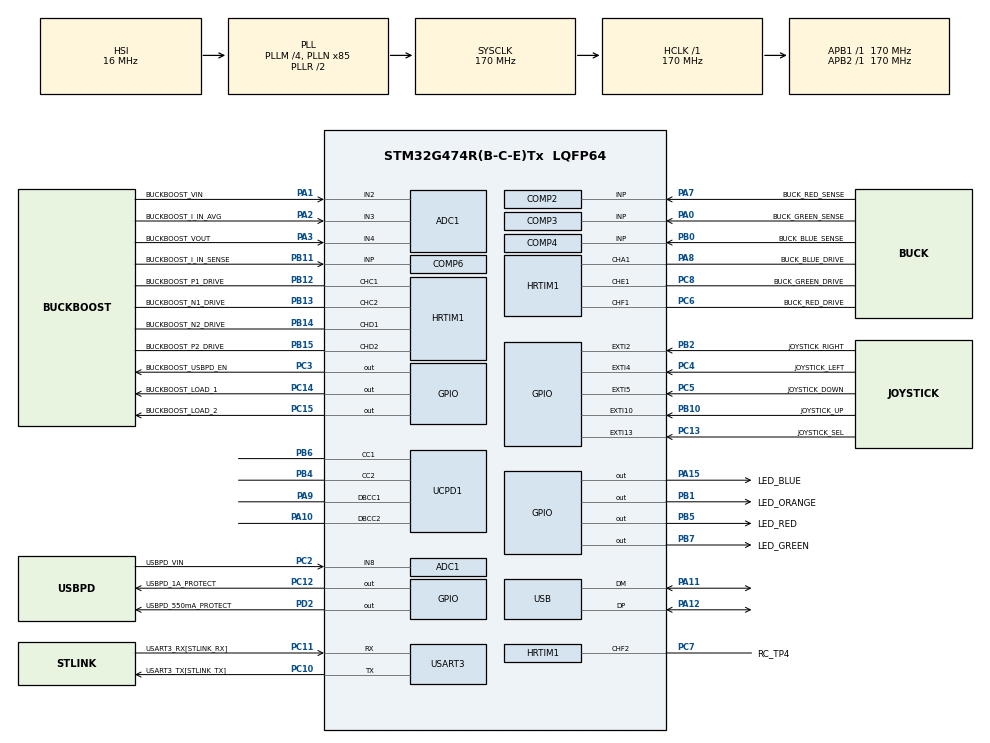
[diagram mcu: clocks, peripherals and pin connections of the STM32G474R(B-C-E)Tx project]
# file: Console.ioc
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ADC1.Channel-0\#ChannelRegularConversion=ADC_CHANNEL_8
ADC1.NbrOfConversionFlag=1
ADC1.OffsetNumber-0\#ChannelRegularConversion=ADC_OFFSET_NONE
ADC1.Rank-0\#ChannelRegularConversion=1
ADC1.SamplingTime-0\#ChannelRegularConversion=ADC_SAMPLETIME_2CYCLES_5
ADC1.master=1
DAC3.DAC_Channel-DAC_OUT2_Int=DAC_CHANNEL_2
FREERTOS.BinarySemaphores01=semUart,Static,semUartControlBlock,Depleted
FREERTOS.Mutexes01=mutexUart,Static,mutexUartControlBlock,Available
FREERTOS.Queues01=queueLogger,32,LogMessage,0,Static,queueLoggerBuffer,queueLoggerControlBlock;queueUart,64,uint8_t,0,Static,queueUartBuffer,queueUartControlBlock
FREERTOS.Tasks01=task0,24,128,startTask0,Default,NULL,Static,task0Buffer,task0ControlBlock;task1,24,128,startTask1,Default,NULL,Static,task1Buffer,task1ControlBlock;task2,24,128,startTask2,Default,NULL,Static,task2Buffer,task2ControlBlock;task3,16,128,startTask3,Default,NULL,Static,task3Buffer,task3ControlBlock;loggerTask,8,256,startLoggerTask,Default,NULL,Static,loggerTaskBuffer,loggerTaskControlBlock
Mcu.Family=STM32G4
Mcu.Name=STM32G474R(B-C-E)Tx
Mcu.Package=LQFP64
NVIC.ADC1_2_IRQn=true\:5\:0\:false\:false\:true\:true\:true\:true\:true
NVIC.EXTI15_10_IRQn=true\:5\:0\:false\:false\:true\:true\:true\:true\:true
NVIC.EXTI2_IRQn=true\:5\:0\:false\:false\:true\:true\:true\:true\:true
NVIC.EXTI4_IRQn=true\:5\:0\:false\:false\:true\:true\:true\:true\:true
NVIC.EXTI9_5_IRQn=true\:5\:0\:false\:false\:true\:true\:true\:true\:true
NVIC.HRTIM1_Master_IRQn=true\:5\:0\:false\:false\:true\:true\:true\:true\:true
NVIC.HRTIM1_TIMF_IRQn=true\:5\:0\:false\:false\:true\:true\:true\:true\:true
NVIC.PriorityGroup=NVIC_PRIORITYGROUP_4
NVIC.TIM6_DAC_IRQn=true\:15\:0\:false\:false\:true\:false\:false\:true\:true
NVIC.TimeBase=TIM6_DAC_IRQn
NVIC.TimeBaseIP=TIM6
NVIC.USART3_IRQn=true\:5\:0\:false\:false\:true\:true\:true\:true\:true
NVIC.USB_HP_IRQn=true\:5\:0\:false\:false\:true\:true\:true\:true\:true
PA0.GPIO_Label=BUCK_GREEN_SENSE
PA0.Mode=INP
PA0.Signal=COMP3_INP
PA1.GPIO_Label=BUCKBOOST_VIN
PA1.Mode=IN2-Single-Ended
PA1.Signal=ADC1_IN2
PA10.Mode=EnableDeadBattery
PA10.Signal=UCPD1_DBCC2
PA11.Mode=Device
PA11.Signal=USB_DM
PA12.Mode=Device
PA12.Signal=USB_DP
PA13.Mode=Serial_Wire
PA13.Signal=SYS_JTMS-SWDIO
PA14.Mode=Serial_Wire
PA14.Signal=SYS_JTCK-SWCLK
PA15.GPIO_Label=LED_BLUE
PA15.Signal=GPIO_Output
PA2.GPIO_Label=BUCKBOOST_I_IN_AVG
PA2.Mode=IN3-Single-Ended
PA2.Signal=ADC1_IN3
PA3.GPIO_Label=BUCKBOOST_VOUT
PA3.Mode=IN4-Single-Ended
PA3.Signal=ADC1_IN4
PA7.GPIO_Label=BUCK_RED_SENSE
PA7.Mode=INP
PA7.Signal=COMP2_INP
PA8.GPIO_Label=BUCK_BLUE_DRIVE
PA8.Mode=Output_TA1
PA8.Signal=HRTIM1_CHA1
PA9.Mode=EnableDeadBattery
PA9.Signal=UCPD1_DBCC1
PB0.GPIO_Label=BUCK_BLUE_SENSE
PB0.Mode=INP
PB0.Signal=COMP4_INP
PB1.GPIO_Label=LED_ORANGE
PB1.Signal=GPIO_Output
PB10.GPIO_Label=JOYSTICK_UP
PB10.GPIO_PuPd=GPIO_PULLUP
PB10.Signal=GPXTI10
PB11.GPIO_Label=BUCKBOOST_I_IN_SENSE
PB11.Mode=INP
PB11.Signal=COMP6_INP
PB12.GPIO_Label=BUCKBOOST_P1_DRIVE
PB12.Mode=Output_TC1TC2
PB12.Signal=HRTIM1_CHC1
PB13.GPIO_Label=BUCKBOOST_N1_DRIVE
PB13.Mode=Output_TC1TC2
PB13.Signal=HRTIM1_CHC2
PB14.GPIO_Label=BUCKBOOST_N2_DRIVE
PB14.Mode=Output_TD1TD2
PB14.Signal=HRTIM1_CHD1
PB15.GPIO_Label=BUCKBOOST_P2_DRIVE
PB15.Mode=Output_TD1TD2
PB15.Signal=HRTIM1_CHD2
PB2.GPIO_Label=JOYSTICK_RIGHT
PB2.GPIO_PuPd=GPIO_PULLUP
PB2.Signal=GPXTI2
PB3.Signal=SYS_JTDO-SWO
PB4.Mode=Sink_AllSignals
PB4.Signal=UCPD1_CC2
PB5.GPIO_Label=LED_RED
PB5.Signal=GPIO_Output
PB6.Mode=Sink_AllSignals
PB6.Signal=UCPD1_CC1
PB7.GPIO_Label=LED_GREEN
PB7.Signal=GPIO_Output
PC10.GPIO_Label=USART3_TX[STLINK_TX]
PC10.GPIO_Speed=GPIO_SPEED_FREQ_MEDIUM
PC10.Mode=Asynchronous
PC10.Signal=USART3_TX
PC11.GPIO_Label=USART3_RX[STLINK_RX]
PC11.GPIO_Speed=GPIO_SPEED_FREQ_MEDIUM
PC11.Mode=Asynchronous
PC11.Signal=USART3_RX
PC12.GPIO_Label=USBPD_1A_PROTECT
PC12.Signal=GPIO_Output
PC13.GPIO_Label=JOYSTICK_SEL
PC13.GPIO_PuPd=GPIO_PULLUP
PC13.Signal=GPXTI13
PC14-OSC32_IN.GPIO_Label=BUCKBOOST_LOAD_1
PC14-OSC32_IN.Signal=GPIO_Output
PC15-OSC32_OUT.GPIO_Label=BUCKBOOST_LOAD_2
PC15-OSC32_OUT.Signal=GPIO_Output
PC2.GPIO_Label=USBPD_VIN
PC2.Mode=IN8-Single-Ended
PC2.Signal=ADC1_IN8
PC3.GPIO_Label=BUCKBOOST_USBPD_EN
PC3.Signal=GPIO_Output
PC4.GPIO_Label=JOYSTICK_LEFT
PC4.GPIO_PuPd=GPIO_PULLUP
PC4.Signal=GPXTI4
PC5.GPIO_Label=JOYSTICK_DOWN
PC5.GPIO_PuPd=GPIO_PULLUP
PC5.Signal=GPXTI5
PC6.GPIO_Label=BUCK_RED_DRIVE
PC6.Mode=Output_TF1TF2
PC6.Signal=HRTIM1_CHF1
PC7.GPIO_Label=RC_TP4
PC7.Mode=Output_TF1TF2
PC7.Signal=HRTIM1_CHF2
PC8.GPIO_Label=BUCK_GREEN_DRIVE
PC8.Mode=Output_TE1
PC8.Signal=HRTIM1_CHE1
PD2.GPIO_Label=USBPD_550mA_PROTECT
PD2.Signal=GPIO_Output
ProjectManager.HeapSize=0x200
ProjectManager.StackSize=0x400
ProjectManager.TargetToolchain=CMake
RCC.ADC12Freq_Value=170000000
RCC.ADC345Freq_Value=170000000
RCC.AHBFreq_Value=170000000
RCC.APB1Freq_Value=170000000
RCC.APB1TimFreq_Value=170000000
RCC.APB2Freq_Value=170000000
RCC.APB2TimFreq_Value=170000000
RCC.CK48CLockSelection=RCC_USBCLKSOURCE_HSI48
RCC.CortexFreq_Value=170000000
RCC.EXTERNAL_CLOCK_VALUE=12288000
RCC.HCLKFreq_Value=170000000
RCC.HSE_VALUE=8000000
RCC.HSI48_VALUE=48000000
RCC.HSI_VALUE=16000000
RCC.LSE_VALUE=32768
RCC.PLLM=RCC_PLLM_DIV4
RCC.PLLN=85
RCC.PLLP=RCC_PLLP_DIV8
RCC.PLLQ=RCC_PLLQ_DIV8
RCC.SYSCLKFreq_VALUE=170000000
RCC.SYSCLKSource=RCC_SYSCLKSOURCE_PLLCLK
RCC.USBFreq_Value=48000000
RCC.VCOOutputFreq_Value=340000000
USART3.ClockPrescaler=PRESCALER_DIV4
USART3.VirtualMode-Asynchronous=VM_ASYNC
USART3.WordLength=WORDLENGTH_8B
VP_COMP2_VS_DAC3OUT2.Mode=INM_DAC3OUT2
VP_COMP3_VS_DAC3OUT1.Mode=INM_DAC3OUT1
VP_COMP4_VS_DAC1OUT1.Mode=INM_DAC1OUT1
VP_COMP6_VS_DAC2OUT1.Mode=INM_DAC2OUT1
VP_DAC1_VS_DACI1.Mode=DAC_OUT1_Int
VP_DAC2_VS_DACI1.Mode=DAC_OUT1_Int
VP_DAC3_VS_DACI1.Mode=DAC_OUT1_Int
VP_DAC3_VS_DACI2.Mode=DAC_OUT2_Int
VP_FREERTOS_VS_CMSIS_V2.Mode=CMSIS_V2
VP_SYS_VS_DBSignals.Mode=DisableDeadBatterySignals
VP_SYS_VS_tim6.Mode=TIM6
board=B-G474E-DPOW1

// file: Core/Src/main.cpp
/* USER CODE BEGIN Header */
/**
 ******************************************************************************
 * @file           : main.c
 * @brief          : Main program body
 ******************************************************************************
 * @attention
 *
 * Copyright (c) 2025 STMicroelectronics.
 * All rights reserved.
 *
 * This software is licensed under terms that can be found in the LICENSE file
 * in the root directory of this software component.
 * If no LICENSE file comes with this software, it is provided AS-IS.
 *
 ******************************************************************************
 */
/* USER CODE END Header */
#include "main.h"
#include "cmsis_os.h"

/* USER CODE BEGIN Includes */

#include "logger.h"
#include "uart.h"
#include "console.h"

#include <stdio.h>

/* USER CODE END Includes */

typedef StaticTask_t osStaticThreadDef_t;
typedef StaticQueue_t osStaticMessageQDef_t;
typedef StaticSemaphore_t osStaticMutexDef_t;
typedef StaticSemaphore_t osStaticSemaphoreDef_t;

ADC_HandleTypeDef hadc1;

COMP_HandleTypeDef hcomp2;
COMP_HandleTypeDef hcomp3;
COMP_HandleTypeDef hcomp4;
COMP_HandleTypeDef hcomp6;

DAC_HandleTypeDef hdac1;
DAC_HandleTypeDef hdac2;
DAC_HandleTypeDef hdac3;

HRTIM_HandleTypeDef hhrtim1;

UART_HandleTypeDef huart3;

PCD_HandleTypeDef hpcd_USB_FS;

/* Definitions for task0 */
osThreadId_t task0Handle;
uint32_t task0Buffer[128];
osStaticThreadDef_t task0ControlBlock;
const osThreadAttr_t task0_attributes = {
	.name = "task0",
	.cb_mem = &task0ControlBlock,
	.cb_size = sizeof(task0ControlBlock),
	.stack_mem = &task0Buffer[0],
	.stack_size = sizeof(task0Buffer),
	.priority = (osPriority_t)osPriorityNormal,
};
/* Definitions for task1 */
osThreadId_t task1Handle;
uint32_t task1Buffer[128];
osStaticThreadDef_t task1ControlBlock;
const osThreadAttr_t task1_attributes = {
	.name = "task1",
	.cb_mem = &task1ControlBlock,
	.cb_size = sizeof(task1ControlBlock),
	.stack_mem = &task1Buffer[0],
	.stack_size = sizeof(task1Buffer),
	.priority = (osPriority_t)osPriorityNormal,
};
/* Definitions for task2 */
osThreadId_t task2Handle;
uint32_t task2Buffer[128];
osStaticThreadDef_t task2ControlBlock;
const osThreadAttr_t task2_attributes = {
	.name = "task2",
	.cb_mem = &task2ControlBlock,
	.cb_size = sizeof(task2ControlBlock),
	.stack_mem = &task2Buffer[0],
	.stack_size = sizeof(task2Buffer),
	.priority = (osPriority_t)osPriorityNormal,
};
/* Definitions for task3 */
osThreadId_t task3Handle;
uint32_t task3Buffer[128];
osStaticThreadDef_t task3ControlBlock;
const osThreadAttr_t task3_attributes = {
	.name = "task3",
	.cb_mem = &task3ControlBlock,
	.cb_size = sizeof(task3ControlBlock),
	.stack_mem = &task3Buffer[0],
	.stack_size = sizeof(task3Buffer),
	.priority = (osPriority_t)osPriorityBelowNormal,
};
/* Definitions for loggerTask */
osThreadId_t loggerTaskHandle;
uint32_t loggerTaskBuffer[256];
osStaticThreadDef_t loggerTaskControlBlock;
const osThreadAttr_t loggerTask_attributes = {
	.name = "loggerTask",
	.cb_mem = &loggerTaskControlBlock,
	.cb_size = sizeof(loggerTaskControlBlock),
	.stack_mem = &loggerTaskBuffer[0],
	.stack_size = sizeof(loggerTaskBuffer),
	.priority = (osPriority_t)osPriorityLow,
};
/* Definitions for consoleTask */
osThreadId_t consoleTaskHandle;
uint32_t consoleTaskBuffer[512];
osStaticThreadDef_t consoleTaskControlBlock;
const osThreadAttr_t consoleTask_attributes = {
	.name = "consoleTask",
	.cb_mem = &consoleTaskControlBlock,
	.cb_size = sizeof(consoleTaskControlBlock),
	.stack_mem = &consoleTaskBuffer[0],
	.stack_size = sizeof(consoleTaskBuffer),
	.priority = (osPriority_t)osPriorityLow,
};
/* Definitions for queueLogger */
osMessageQueueId_t queueLoggerHandle;
uint8_t queueLoggerBuffer[32 * sizeof(LogMessage)];
osStaticMessageQDef_t queueLoggerControlBlock;
const osMessageQueueAttr_t queueLogger_attributes = {
	.name = "queueLogger",
	.cb_mem = &queueLoggerControlBlock,
	.cb_size = sizeof(queueLoggerControlBlock),
	.mq_mem = &queueLoggerBuffer,
	.mq_size = sizeof(queueLoggerBuffer)};
/* Definitions for queueUart */
osMessageQueueId_t queueUartHandle;
uint8_t queueUartBuffer[64 * sizeof(uint8_t)];
osStaticMessageQDef_t queueUartControlBlock;
const osMessageQueueAttr_t queueUart_attributes = {
	.name = "queueUart",
	.cb_mem = &queueUartControlBlock,
	.cb_size = sizeof(queueUartControlBlock),
	.mq_mem = &queueUartBuffer,
	.mq_size = sizeof(queueUartBuffer)};
/* Definitions for mutexUart */
osMutexId_t mutexUartHandle;
osStaticMutexDef_t mutexUartControlBlock;
const osMutexAttr_t mutexUart_attributes = {
	.name = "mutexUart",
	.cb_mem = &mutexUartControlBlock,
	.cb_size = sizeof(mutexUartControlBlock),
};
/* Definitions for semUart */
osSemaphoreId_t semUartHandle;
osStaticSemaphoreDef_t semUartControlBlock;
const osSemaphoreAttr_t semUart_attributes = {
	.name = "semUart",
	.cb_mem = &semUartControlBlock,
	.cb_size = sizeof(semUartControlBlock),
};

void SystemClock_Config(void);
static void MX_GPIO_Init(void);
static void MX_ADC1_Init(void);
static void MX_COMP2_Init(void);
static void MX_COMP3_Init(void);
static void MX_COMP4_Init(void);
static void MX_COMP6_Init(void);
static void MX_DAC1_Init(void);
static void MX_DAC2_Init(void);
static void MX_DAC3_Init(void);
static void MX_HRTIM1_Init(void);
static void MX_UCPD1_Init(void);
static void MX_USART3_UART_Init(void);
static void MX_USB_PCD_Init(void);
void startTask0(void *argument);
void startTask1(void *argument);
void startTask2(void *argument);
void startTask3(void *argument);
void startLoggerTask(void *argument);
void startConsoleTask(void *argument);

/* USER CODE BEGIN 0 */

Uart uart(&huart3);
Console console(uart);

extern "C" int _write(int file, char *ptr, int len)
{
	(void)file;
	uart.transmit(ptr, len);
	return len;
}

/* USER CODE END 0 */

int main(void)
{

	/* MCU Configuration--------------------------------------------------------*/

	/* Reset of all peripherals, Initializes the Flash interface and the Systick. */
	HAL_Init();

	/* Configure the system clock */
	SystemClock_Config();

	/* Initialize all configured peripherals */
	MX_GPIO_Init();
	MX_ADC1_Init();
	MX_COMP2_Init();
	MX_COMP3_Init();
	MX_COMP4_Init();
	MX_COMP6_Init();
	MX_DAC1_Init();
	MX_DAC2_Init();
	MX_DAC3_Init();
	MX_HRTIM1_Init();
	MX_UCPD1_Init();
	MX_USART3_UART_Init();
	MX_USB_PCD_Init();
	/* USER CODE BEGIN 2 */

	LOG_init(&queueLoggerHandle);
	uart.setHandleMutexTx(&mutexUartHandle);
	uart.setHandleQueueRx(&queueUartHandle);
	uart.setHandleSemTx(&semUartHandle);
	uart.init();

	/* USER CODE END 2 */

	/* Init scheduler */
	osKernelInitialize();
	/* Create the mutex(es) */
	/* creation of mutexUart */
	mutexUartHandle = osMutexNew(&mutexUart_attributes);

	semUartHandle = osSemaphoreNew(1, 0, &semUart_attributes);

	/* Create the queue(s) */
	/* creation of queueLogger */
	queueLoggerHandle = osMessageQueueNew(32, sizeof(LogMessage), &queueLogger_attributes);

	queueUartHandle = osMessageQueueNew(64, sizeof(uint8_t), &queueUart_attributes);

	/* Create the thread(s) */
	/* creation of task0 */
	task0Handle = osThreadNew(startTask0, NULL, &task0_attributes);

	/* creation of task1 */
	task1Handle = osThreadNew(startTask1, NULL, &task1_attributes);

	/* creation of task2 */
	task2Handle = osThreadNew(startTask2, NULL, &task2_attributes);

	/* creation of task3 */
	task3Handle = osThreadNew(startTask3, NULL, &task3_attributes);

	/* creation of loggerTask */
	loggerTaskHandle = osThreadNew(startLoggerTask, NULL, &loggerTask_attributes);

	consoleTaskHandle = osThreadNew(startConsoleTask, NULL, &consoleTask_attributes);

	/* Start scheduler */
	osKernelStart();

	/* We should never get here as control is now taken by the scheduler */

	/* Infinite loop */
	while (1)
	{

	}
}

void SystemClock_Config(void)
{
	RCC_OscInitTypeDef RCC_OscInitStruct = {0};
	RCC_ClkInitTypeDef RCC_ClkInitStruct = {0};

	/** Configure the main internal regulator output voltage
	 */
	HAL_PWREx_ControlVoltageScaling(PWR_REGULATOR_VOLTAGE_SCALE1_BOOST);

	/** Initializes the RCC Oscillators according to the specified parameters
	 * in the RCC_OscInitTypeDef structure.
	 */
	RCC_OscInitStruct.OscillatorType = RCC_OSCILLATORTYPE_HSI | RCC_OSCILLATORTYPE_HSI48;
	RCC_OscInitStruct.HSIState = RCC_HSI_ON;
	RCC_OscInitStruct.HSICalibrationValue = RCC_HSICALIBRATION_DEFAULT;
	RCC_OscInitStruct.HSI48State = RCC_HSI48_ON;
	RCC_OscInitStruct.PLL.PLLState = RCC_PLL_ON;
	RCC_OscInitStruct.PLL.PLLSource = RCC_PLLSOURCE_HSI;
	RCC_OscInitStruct.PLL.PLLM = RCC_PLLM_DIV4;
	RCC_OscInitStruct.PLL.PLLN = 85;
	RCC_OscInitStruct.PLL.PLLP = RCC_PLLP_DIV8;
	RCC_OscInitStruct.PLL.PLLQ = RCC_PLLQ_DIV8;
	RCC_OscInitStruct.PLL.PLLR = RCC_PLLR_DIV2;
	if (HAL_RCC_OscConfig(&RCC_OscInitStruct) != HAL_OK)
	{
		Error_Handler();
	}

	/** Initializes the CPU, AHB and APB buses clocks
	 */
	RCC_ClkInitStruct.ClockType = RCC_CLOCKTYPE_HCLK | RCC_CLOCKTYPE_SYSCLK | RCC_CLOCKTYPE_PCLK1 | RCC_CLOCKTYPE_PCLK2;
	RCC_ClkInitStruct.SYSCLKSource = RCC_SYSCLKSOURCE_PLLCLK;
	RCC_ClkInitStruct.AHBCLKDivider = RCC_SYSCLK_DIV1;
	RCC_ClkInitStruct.APB1CLKDivider = RCC_HCLK_DIV1;
	RCC_ClkInitStruct.APB2CLKDivider = RCC_HCLK_DIV1;

	if (HAL_RCC_ClockConfig(&RCC_ClkInitStruct, FLASH_LATENCY_4) != HAL_OK)
	{
		Error_Handler();
	}
}

static void MX_ADC1_Init(void)
{

	ADC_MultiModeTypeDef multimode = {0};
	ADC_ChannelConfTypeDef sConfig = {0};

	/** Common config
	 */
	hadc1.Instance = ADC1;
	hadc1.Init.ClockPrescaler = ADC_CLOCK_SYNC_PCLK_DIV4;
	hadc1.Init.Resolution = ADC_RESOLUTION_12B;
	hadc1.Init.DataAlign = ADC_DATAALIGN_RIGHT;
	hadc1.Init.GainCompensation = 0;
	hadc1.Init.ScanConvMode = ADC_SCAN_DISABLE;
	hadc1.Init.EOCSelection = ADC_EOC_SINGLE_CONV;
	hadc1.Init.LowPowerAutoWait = DISABLE;
	hadc1.Init.ContinuousConvMode = DISABLE;
	hadc1.Init.NbrOfConversion = 1;
	hadc1.Init.DiscontinuousConvMode = DISABLE;
	hadc1.Init.ExternalTrigConv = ADC_SOFTWARE_START;
	hadc1.Init.ExternalTrigConvEdge = ADC_EXTERNALTRIGCONVEDGE_NONE;
	hadc1.Init.DMAContinuousRequests = DISABLE;
	hadc1.Init.Overrun = ADC_OVR_DATA_PRESERVED;
	hadc1.Init.OversamplingMode = DISABLE;
	if (HAL_ADC_Init(&hadc1) != HAL_OK)
	{
		Error_Handler();
	}

	/** Configure the ADC multi-mode
	 */
	multimode.Mode = ADC_MODE_INDEPENDENT;
	if (HAL_ADCEx_MultiModeConfigChannel(&hadc1, &multimode) != HAL_OK)
	{
		Error_Handler();
	}

	/** Configure Regular Channel
	 */
	sConfig.Channel = ADC_CHANNEL_8;
	sConfig.Rank = ADC_REGULAR_RANK_1;
	sConfig.SamplingTime = ADC_SAMPLETIME_2CYCLES_5;
	sConfig.SingleDiff = ADC_SINGLE_ENDED;
	sConfig.OffsetNumber = ADC_OFFSET_NONE;
	sConfig.Offset = 0;
	if (HAL_ADC_ConfigChannel(&hadc1, &sConfig) != HAL_OK)
	{
		Error_Handler();
	}
}

static void MX_COMP2_Init(void)
{

	hcomp2.Instance = COMP2;
	hcomp2.Init.InputPlus = COMP_INPUT_PLUS_IO1;
	hcomp2.Init.InputMinus = COMP_INPUT_MINUS_DAC3_CH2;
	hcomp2.Init.OutputPol = COMP_OUTPUTPOL_NONINVERTED;
	hcomp2.Init.Hysteresis = COMP_HYSTERESIS_NONE;
	hcomp2.Init.BlankingSrce = COMP_BLANKINGSRC_NONE;
	hcomp2.Init.TriggerMode = COMP_TRIGGERMODE_NONE;
	if (HAL_COMP_Init(&hcomp2) != HAL_OK)
	{
		Error_Handler();
	}
}

static void MX_COMP3_Init(void)
{

	hcomp3.Instance = COMP3;
	hcomp3.Init.InputPlus = COMP_INPUT_PLUS_IO1;
	hcomp3.Init.InputMinus = COMP_INPUT_MINUS_DAC3_CH1;
	hcomp3.Init.OutputPol = COMP_OUTPUTPOL_NONINVERTED;
	hcomp3.Init.Hysteresis = COMP_HYSTERESIS_NONE;
	hcomp3.Init.BlankingSrce = COMP_BLANKINGSRC_NONE;
	hcomp3.Init.TriggerMode = COMP_TRIGGERMODE_NONE;
	if (HAL_COMP_Init(&hcomp3) != HAL_OK)
	{
		Error_Handler();
	}
}

static void MX_COMP4_Init(void)
{

	hcomp4.Instance = COMP4;
	hcomp4.Init.InputPlus = COMP_INPUT_PLUS_IO1;
	hcomp4.Init.InputMinus = COMP_INPUT_MINUS_DAC1_CH1;
	hcomp4.Init.OutputPol = COMP_OUTPUTPOL_NONINVERTED;
	hcomp4.Init.Hysteresis = COMP_HYSTERESIS_NONE;
	hcomp4.Init.BlankingSrce = COMP_BLANKINGSRC_NONE;
	hcomp4.Init.TriggerMode = COMP_TRIGGERMODE_NONE;
	if (HAL_COMP_Init(&hcomp4) != HAL_OK)
	{
		Error_Handler();
	}
}

static void MX_COMP6_Init(void)
{

	hcomp6.Instance = COMP6;
	hcomp6.Init.InputPlus = COMP_INPUT_PLUS_IO1;
	hcomp6.Init.InputMinus = COMP_INPUT_MINUS_DAC2_CH1;
	hcomp6.Init.OutputPol = COMP_OUTPUTPOL_NONINVERTED;
	hcomp6.Init.Hysteresis = COMP_HYSTERESIS_NONE;
	hcomp6.Init.BlankingSrce = COMP_BLANKINGSRC_NONE;
	hcomp6.Init.TriggerMode = COMP_TRIGGERMODE_NONE;
	if (HAL_COMP_Init(&hcomp6) != HAL_OK)
	{
		Error_Handler();
	}
}

static void MX_DAC1_Init(void)
{

	DAC_ChannelConfTypeDef sConfig = {0};

	/** DAC Initialization
	 */
	hdac1.Instance = DAC1;
	if (HAL_DAC_Init(&hdac1) != HAL_OK)
	{
		Error_Handler();
	}

	/** DAC channel OUT1 config
	 */
	sConfig.DAC_HighFrequency = DAC_HIGH_FREQUENCY_INTERFACE_MODE_AUTOMATIC;
	sConfig.DAC_DMADoubleDataMode = DISABLE;
	sConfig.DAC_SignedFormat = DISABLE;
	sConfig.DAC_SampleAndHold = DAC_SAMPLEANDHOLD_DISABLE;
	sConfig.DAC_Trigger = DAC_TRIGGER_NONE;
	sConfig.DAC_Trigger2 = DAC_TRIGGER_NONE;
	sConfig.DAC_OutputBuffer = DAC_OUTPUTBUFFER_DISABLE;
	sConfig.DAC_ConnectOnChipPeripheral = DAC_CHIPCONNECT_INTERNAL;
	sConfig.DAC_UserTrimming = DAC_TRIMMING_FACTORY;
	if (HAL_DAC_ConfigChannel(&hdac1, &sConfig, DAC_CHANNEL_1) != HAL_OK)
	{
		Error_Handler();
	}
}

static void MX_DAC2_Init(void)
{

	DAC_ChannelConfTypeDef sConfig = {0};

	/** DAC Initialization
	 */
	hdac2.Instance = DAC2;
	if (HAL_DAC_Init(&hdac2) != HAL_OK)
	{
		Error_Handler();
	}

	/** DAC channel OUT1 config
	 */
	sConfig.DAC_HighFrequency = DAC_HIGH_FREQUENCY_INTERFACE_MODE_AUTOMATIC;
	sConfig.DAC_DMADoubleDataMode = DISABLE;
	sConfig.DAC_SignedFormat = DISABLE;
	sConfig.DAC_SampleAndHold = DAC_SAMPLEANDHOLD_DISABLE;
	sConfig.DAC_Trigger = DAC_TRIGGER_NONE;
	sConfig.DAC_Trigger2 = DAC_TRIGGER_NONE;
	sConfig.DAC_OutputBuffer = DAC_OUTPUTBUFFER_DISABLE;
	sConfig.DAC_ConnectOnChipPeripheral = DAC_CHIPCONNECT_INTERNAL;
	sConfig.DAC_UserTrimming = DAC_TRIMMING_FACTORY;
	if (HAL_DAC_ConfigChannel(&hdac2, &sConfig, DAC_CHANNEL_1) != HAL_OK)
	{
		Error_Handler();
	}
}

static void MX_DAC3_Init(void)
{

	DAC_ChannelConfTypeDef sConfig = {0};

	/** DAC Initialization
	 */
	hdac3.Instance = DAC3;
	if (HAL_DAC_Init(&hdac3) != HAL_OK)
	{
		Error_Handler();
	}

	/** DAC channel OUT1 config
	 */
	sConfig.DAC_HighFrequency = DAC_HIGH_FREQUENCY_INTERFACE_MODE_AUTOMATIC;
	sConfig.DAC_DMADoubleDataMode = DISABLE;
	sConfig.DAC_SignedFormat = DISABLE;
	sConfig.DAC_SampleAndHold = DAC_SAMPLEANDHOLD_DISABLE;
	sConfig.DAC_Trigger = DAC_TRIGGER_NONE;
	sConfig.DAC_Trigger2 = DAC_TRIGGER_NONE;
	sConfig.DAC_OutputBuffer = DAC_OUTPUTBUFFER_DISABLE;
	sConfig.DAC_ConnectOnChipPeripheral = DAC_CHIPCONNECT_INTERNAL;
	sConfig.DAC_UserTrimming = DAC_TRIMMING_FACTORY;
	if (HAL_DAC_ConfigChannel(&hdac3, &sConfig, DAC_CHANNEL_1) != HAL_OK)
	{
		Error_Handler();
	}

	/** DAC channel OUT2 config
	 */
	if (HAL_DAC_ConfigChannel(&hdac3, &sConfig, DAC_CHANNEL_2) != HAL_OK)
	{
		Error_Handler();
	}
}

static void MX_HRTIM1_Init(void)
{

	HRTIM_TimeBaseCfgTypeDef pTimeBaseCfg = {0};
	HRTIM_TimerCtlTypeDef pTimerCtl = {0};
	HRTIM_TimerCfgTypeDef pTimerCfg = {0};
	HRTIM_OutputCfgTypeDef pOutputCfg = {0};

	hhrtim1.Instance = HRTIM1;
	hhrtim1.Init.HRTIMInterruptResquests = HRTIM_IT_NONE;
	hhrtim1.Init.SyncOptions = HRTIM_SYNCOPTION_NONE;
	if (HAL_HRTIM_Init(&hhrtim1) != HAL_OK)
	{
		Error_Handler();
	}
	if (HAL_HRTIM_DLLCalibrationStart(&hhrtim1, HRTIM_CALIBRATIONRATE_3) != HAL_OK)
	{
		Error_Handler();
	}
	if (HAL_HRTIM_PollForDLLCalibration(&hhrtim1, 10) != HAL_OK)
	{
		Error_Handler();
	}
	pTimeBaseCfg.Period = 0xFFDF;
	pTimeBaseCfg.RepetitionCounter = 0x00;
	pTimeBaseCfg.PrescalerRatio = HRTIM_PRESCALERRATIO_MUL32;
	pTimeBaseCfg.Mode = HRTIM_MODE_CONTINUOUS;
	if (HAL_HRTIM_TimeBaseConfig(&hhrtim1, HRTIM_TIMERINDEX_TIMER_A, &pTimeBaseCfg) != HAL_OK)
	{
		Error_Handler();
	}
	pTimerCtl.UpDownMode = HRTIM_TIMERUPDOWNMODE_UP;
	pTimerCtl.DualChannelDacEnable = HRTIM_TIMER_DCDE_DISABLED;
	if (HAL_HRTIM_WaveformTimerControl(&hhrtim1, HRTIM_TIMERINDEX_TIMER_A, &pTimerCtl) != HAL_OK)
	{
		Error_Handler();
	}
	pTimerCfg.InterruptRequests = HRTIM_TIM_IT_NONE;
	pTimerCfg.DMARequests = HRTIM_TIM_DMA_NONE;
	pTimerCfg.DMASrcAddress = 0x0000;
	pTimerCfg.DMADstAddress = 0x0000;
	pTimerCfg.DMASize = 0x1;
	pTimerCfg.HalfModeEnable = HRTIM_HALFMODE_DISABLED;
	pTimerCfg.InterleavedMode = HRTIM_INTERLEAVED_MODE_DISABLED;
	pTimerCfg.StartOnSync = HRTIM_SYNCSTART_DISABLED;
	pTimerCfg.ResetOnSync = HRTIM_SYNCRESET_DISABLED;
	pTimerCfg.DACSynchro = HRTIM_DACSYNC_NONE;
	pTimerCfg.PreloadEnable = HRTIM_PRELOAD_DISABLED;
	pTimerCfg.UpdateGating = HRTIM_UPDATEGATING_INDEPENDENT;
	pTimerCfg.BurstMode = HRTIM_TIMERBURSTMODE_MAINTAINCLOCK;
	pTimerCfg.RepetitionUpdate = HRTIM_UPDATEONREPETITION_DISABLED;
	pTimerCfg.PushPull = HRTIM_TIMPUSHPULLMODE_DISABLED;
	pTimerCfg.FaultEnable = HRTIM_TIMFAULTENABLE_NONE;
	pTimerCfg.FaultLock = HRTIM_TIMFAULTLOCK_READWRITE;
	pTimerCfg.DeadTimeInsertion = HRTIM_TIMDEADTIMEINSERTION_DISABLED;
	pTimerCfg.DelayedProtectionMode = HRTIM_TIMER_A_B_C_DELAYEDPROTECTION_DISABLED;
	pTimerCfg.UpdateTrigger = HRTIM_TIMUPDATETRIGGER_NONE;
	pTimerCfg.ResetTrigger = HRTIM_TIMRESETTRIGGER_NONE;
	pTimerCfg.ResetUpdate = HRTIM_TIMUPDATEONRESET_DISABLED;
	pTimerCfg.ReSyncUpdate = HRTIM_TIMERESYNC_UPDATE_UNCONDITIONAL;
	if (HAL_HRTIM_WaveformTimerConfig(&hhrtim1, HRTIM_TIMERINDEX_TIMER_A, &pTimerCfg) != HAL_OK)
	{
		Error_Handler();
	}
	if (HAL_HRTIM_WaveformTimerConfig(&hhrtim1, HRTIM_TIMERINDEX_TIMER_C, &pTimerCfg) != HAL_OK)
	{
		Error_Handler();
	}
	pTimerCfg.DelayedProtectionMode = HRTIM_TIMER_D_E_DELAYEDPROTECTION_DISABLED;
	if (HAL_HRTIM_WaveformTimerConfig(&hhrtim1, HRTIM_TIMERINDEX_TIMER_D, &pTimerCfg) != HAL_OK)
	{
		Error_Handler();
	}
	if (HAL_HRTIM_WaveformTimerConfig(&hhrtim1, HRTIM_TIMERINDEX_TIMER_E, &pTimerCfg) != HAL_OK)
	{
		Error_Handler();
	}
	pTimerCfg.DelayedProtectionMode = HRTIM_TIMER_F_DELAYEDPROTECTION_DISABLED;
	if (HAL_HRTIM_WaveformTimerConfig(&hhrtim1, HRTIM_TIMERINDEX_TIMER_F, &pTimerCfg) != HAL_OK)
	{
		Error_Handler();
	}
	pOutputCfg.Polarity = HRTIM_OUTPUTPOLARITY_HIGH;
	pOutputCfg.SetSource = HRTIM_OUTPUTSET_NONE;
	pOutputCfg.ResetSource = HRTIM_OUTPUTRESET_NONE;
	pOutputCfg.IdleMode = HRTIM_OUTPUTIDLEMODE_NONE;
	pOutputCfg.IdleLevel = HRTIM_OUTPUTIDLELEVEL_INACTIVE;
	pOutputCfg.FaultLevel = HRTIM_OUTPUTFAULTLEVEL_NONE;
	pOutputCfg.ChopperModeEnable = HRTIM_OUTPUTCHOPPERMODE_DISABLED;
	pOutputCfg.BurstModeEntryDelayed = HRTIM_OUTPUTBURSTMODEENTRY_REGULAR;
	if (HAL_HRTIM_WaveformOutputConfig(&hhrtim1, HRTIM_TIMERINDEX_TIMER_A, HRTIM_OUTPUT_TA1, &pOutputCfg) != HAL_OK)
	{
		Error_Handler();
	}
	if (HAL_HRTIM_WaveformOutputConfig(&hhrtim1, HRTIM_TIMERINDEX_TIMER_C, HRTIM_OUTPUT_TC1, &pOutputCfg) != HAL_OK)
	{
		Error_Handler();
	}
	if (HAL_HRTIM_WaveformOutputConfig(&hhrtim1, HRTIM_TIMERINDEX_TIMER_D, HRTIM_OUTPUT_TD1, &pOutputCfg) != HAL_OK)
	{
		Error_Handler();
	}
	if (HAL_HRTIM_WaveformOutputConfig(&hhrtim1, HRTIM_TIMERINDEX_TIMER_E, HRTIM_OUTPUT_TE1, &pOutputCfg) != HAL_OK)
	{
		Error_Handler();
	}
	if (HAL_HRTIM_WaveformOutputConfig(&hhrtim1, HRTIM_TIMERINDEX_TIMER_F, HRTIM_OUTPUT_TF1, &pOutputCfg) != HAL_OK)
	{
		Error_Handler();
	}
	if (HAL_HRTIM_TimeBaseConfig(&hhrtim1, HRTIM_TIMERINDEX_TIMER_C, &pTimeBaseCfg) != HAL_OK)
	{
		Error_Handler();
	}
	if (HAL_HRTIM_WaveformTimerControl(&hhrtim1, HRTIM_TIMERINDEX_TIMER_C, &pTimerCtl) != HAL_OK)
	{
		Error_Handler();
	}
	if (HAL_HRTIM_WaveformOutputConfig(&hhrtim1, HRTIM_TIMERINDEX_TIMER_C, HRTIM_OUTPUT_TC2, &pOutputCfg) != HAL_OK)
	{
		Error_Handler();
	}
	if (HAL_HRTIM_WaveformOutputConfig(&hhrtim1, HRTIM_TIMERINDEX_TIMER_D, HRTIM_OUTPUT_TD2, &pOutputCfg) != HAL_OK)
	{
		Error_Handler();
	}
	if (HAL_HRTIM_WaveformOutputConfig(&hhrtim1, HRTIM_TIMERINDEX_TIMER_F, HRTIM_OUTPUT_TF2, &pOutputCfg) != HAL_OK)
	{
		Error_Handler();
	}
	if (HAL_HRTIM_TimeBaseConfig(&hhrtim1, HRTIM_TIMERINDEX_TIMER_D, &pTimeBaseCfg) != HAL_OK)
	{
		Error_Handler();
	}
	if (HAL_HRTIM_WaveformTimerControl(&hhrtim1, HRTIM_TIMERINDEX_TIMER_D, &pTimerCtl) != HAL_OK)
	{
		Error_Handler();
	}
	if (HAL_HRTIM_TimeBaseConfig(&hhrtim1, HRTIM_TIMERINDEX_TIMER_E, &pTimeBaseCfg) != HAL_OK)
	{
		Error_Handler();
	}
	if (HAL_HRTIM_WaveformTimerControl(&hhrtim1, HRTIM_TIMERINDEX_TIMER_E, &pTimerCtl) != HAL_OK)
	{
		Error_Handler();
	}
	if (HAL_HRTIM_TimeBaseConfig(&hhrtim1, HRTIM_TIMERINDEX_TIMER_F, &pTimeBaseCfg) != HAL_OK)
	{
		Error_Handler();
	}
	if (HAL_HRTIM_WaveformTimerControl(&hhrtim1, HRTIM_TIMERINDEX_TIMER_F, &pTimerCtl) != HAL_OK)
	{
		Error_Handler();
	}
	HAL_HRTIM_MspPostInit(&hhrtim1);
}

static void MX_UCPD1_Init(void)
{

	LL_GPIO_InitTypeDef GPIO_InitStruct = {0};

	/* Peripheral clock enable */
	LL_APB1_GRP2_EnableClock(LL_APB1_GRP2_PERIPH_UCPD1);

	LL_AHB2_GRP1_EnableClock(LL_AHB2_GRP1_PERIPH_GPIOB);
	/**UCPD1 GPIO Configuration
	PB4   ------> UCPD1_CC2
	PB6   ------> UCPD1_CC1
	*/
	GPIO_InitStruct.Pin = LL_GPIO_PIN_4;
	GPIO_InitStruct.Mode = LL_GPIO_MODE_ANALOG;
	GPIO_InitStruct.Pull = LL_GPIO_PULL_NO;
	LL_GPIO_Init(GPIOB, &GPIO_InitStruct);

	GPIO_InitStruct.Pin = LL_GPIO_PIN_6;
	GPIO_InitStruct.Mode = LL_GPIO_MODE_ANALOG;
	GPIO_InitStruct.Pull = LL_GPIO_PULL_NO;
	LL_GPIO_Init(GPIOB, &GPIO_InitStruct);

}

static void MX_USART3_UART_Init(void)
{

	huart3.Instance = USART3;
	huart3.Init.BaudRate = 115200;
	huart3.Init.WordLength = UART_WORDLENGTH_8B;
	huart3.Init.StopBits = UART_STOPBITS_1;
	huart3.Init.Parity = UART_PARITY_NONE;
	huart3.Init.Mode = UART_MODE_TX_RX;
	huart3.Init.HwFlowCtl = UART_HWCONTROL_NONE;
	huart3.Init.OverSampling = UART_OVERSAMPLING_16;
	huart3.Init.OneBitSampling = UART_ONE_BIT_SAMPLE_DISABLE;
	huart3.Init.ClockPrescaler = UART_PRESCALER_DIV4;
	huart3.AdvancedInit.AdvFeatureInit = UART_ADVFEATURE_NO_INIT;
	if (HAL_UART_Init(&huart3) != HAL_OK)
	{
		Error_Handler();
	}
	if (HAL_UARTEx_SetTxFifoThreshold(&huart3, UART_TXFIFO_THRESHOLD_1_8) != HAL_OK)
	{
		Error_Handler();
	}
	if (HAL_UARTEx_SetRxFifoThreshold(&huart3, UART_RXFIFO_THRESHOLD_1_8) != HAL_OK)
	{
		Error_Handler();
	}
	if (HAL_UARTEx_DisableFifoMode(&huart3) != HAL_OK)
	{
		Error_Handler();
	}
}

static void MX_USB_PCD_Init(void)
{

	hpcd_USB_FS.Instance = USB;
	hpcd_USB_FS.Init.dev_endpoints = 8;
	hpcd_USB_FS.Init.speed = PCD_SPEED_FULL;
	hpcd_USB_FS.Init.phy_itface = PCD_PHY_EMBEDDED;
	hpcd_USB_FS.Init.Sof_enable = DISABLE;
	hpcd_USB_FS.Init.low_power_enable = DISABLE;
	hpcd_USB_FS.Init.lpm_enable = DISABLE;
	hpcd_USB_FS.Init.battery_charging_enable = DISABLE;
	if (HAL_PCD_Init(&hpcd_USB_FS) != HAL_OK)
	{
		Error_Handler();
	}
}

static void MX_GPIO_Init(void)
{
	GPIO_InitTypeDef GPIO_InitStruct = {0};

	/* GPIO Ports Clock Enable */
	__HAL_RCC_GPIOC_CLK_ENABLE();
	__HAL_RCC_GPIOA_CLK_ENABLE();
	__HAL_RCC_GPIOB_CLK_ENABLE();
	__HAL_RCC_GPIOD_CLK_ENABLE();

	/*Configure GPIO pin Output Level */
	HAL_GPIO_WritePin(GPIOC, BUCKBOOST_LOAD_1_Pin | BUCKBOOST_LOAD_2_Pin | BUCKBOOST_USBPD_EN_Pin | USBPD_1A_PROTECT_Pin, GPIO_PIN_RESET);

	/*Configure GPIO pin Output Level */
	HAL_GPIO_WritePin(GPIOB, LED_ORANGE_Pin | LED_RED_Pin | LED_GREEN_Pin, GPIO_PIN_RESET);

	/*Configure GPIO pin Output Level */
	HAL_GPIO_WritePin(LED_BLUE_GPIO_Port, LED_BLUE_Pin, GPIO_PIN_RESET);

	/*Configure GPIO pin Output Level */
	HAL_GPIO_WritePin(USBPD_550mA_PROTECT_GPIO_Port, USBPD_550mA_PROTECT_Pin, GPIO_PIN_RESET);

	/*Configure GPIO pins : JOYSTICK_SEL_Pin JOYSTICK_LEFT_Pin JOYSTICK_DOWN_Pin */
	GPIO_InitStruct.Pin = JOYSTICK_SEL_Pin | JOYSTICK_LEFT_Pin | JOYSTICK_DOWN_Pin;
	GPIO_InitStruct.Mode = GPIO_MODE_IT_RISING;
	GPIO_InitStruct.Pull = GPIO_PULLUP;
	HAL_GPIO_Init(GPIOC, &GPIO_InitStruct);

	/*Configure GPIO pins : BUCKBOOST_LOAD_1_Pin BUCKBOOST_LOAD_2_Pin BUCKBOOST_USBPD_EN_Pin USBPD_1A_PROTECT_Pin */
	GPIO_InitStruct.Pin = BUCKBOOST_LOAD_1_Pin | BUCKBOOST_LOAD_2_Pin | BUCKBOOST_USBPD_EN_Pin | USBPD_1A_PROTECT_Pin;
	GPIO_InitStruct.Mode = GPIO_MODE_OUTPUT_PP;
	GPIO_InitStruct.Pull = GPIO_NOPULL;
	GPIO_InitStruct.Speed = GPIO_SPEED_FREQ_LOW;
	HAL_GPIO_Init(GPIOC, &GPIO_InitStruct);

	/*Configure GPIO pins : LED_ORANGE_Pin LED_RED_Pin LED_GREEN_Pin */
	GPIO_InitStruct.Pin = LED_ORANGE_Pin | LED_RED_Pin | LED_GREEN_Pin;
	GPIO_InitStruct.Mode = GPIO_MODE_OUTPUT_PP;
	GPIO_InitStruct.Pull = GPIO_NOPULL;
	GPIO_InitStruct.Speed = GPIO_SPEED_FREQ_LOW;
	HAL_GPIO_Init(GPIOB, &GPIO_InitStruct);

	/*Configure GPIO pins : JOYSTICK_RIGHT_Pin JOYSTICK_UP_Pin */
	GPIO_InitStruct.Pin = JOYSTICK_RIGHT_Pin | JOYSTICK_UP_Pin;
	GPIO_InitStruct.Mode = GPIO_MODE_IT_RISING;
	GPIO_InitStruct.Pull = GPIO_PULLUP;
	HAL_GPIO_Init(GPIOB, &GPIO_InitStruct);

	/*Configure GPIO pin : LED_BLUE_Pin */
	GPIO_InitStruct.Pin = LED_BLUE_Pin;
	GPIO_InitStruct.Mode = GPIO_MODE_OUTPUT_PP;
	GPIO_InitStruct.Pull = GPIO_NOPULL;
	GPIO_InitStruct.Speed = GPIO_SPEED_FREQ_LOW;
	HAL_GPIO_Init(LED_BLUE_GPIO_Port, &GPIO_InitStruct);

	/*Configure GPIO pin : USBPD_550mA_PROTECT_Pin */
	GPIO_InitStruct.Pin = USBPD_550mA_PROTECT_Pin;
	GPIO_InitStruct.Mode = GPIO_MODE_OUTPUT_PP;
	GPIO_InitStruct.Pull = GPIO_NOPULL;
	GPIO_InitStruct.Speed = GPIO_SPEED_FREQ_LOW;
	HAL_GPIO_Init(USBPD_550mA_PROTECT_GPIO_Port, &GPIO_InitStruct);

	/* EXTI interrupt init*/
	HAL_NVIC_SetPriority(EXTI2_IRQn, 5, 0);
	HAL_NVIC_EnableIRQ(EXTI2_IRQn);

	HAL_NVIC_SetPriority(EXTI4_IRQn, 5, 0);
	HAL_NVIC_EnableIRQ(EXTI4_IRQn);

	HAL_NVIC_SetPriority(EXTI9_5_IRQn, 5, 0);
	HAL_NVIC_EnableIRQ(EXTI9_5_IRQn);

	HAL_NVIC_SetPriority(EXTI15_10_IRQn, 5, 0);
	HAL_NVIC_EnableIRQ(EXTI15_10_IRQn);

}

/* USER CODE BEGIN 4 */

void HAL_UART_TxCpltCallback(UART_HandleTypeDef *huart)
{
	uart.handleTxInterrupt(huart);
}

void HAL_UART_RxCpltCallback(UART_HandleTypeDef *huart)
{
	uart.handleRxInterrupt(huart);
}

/* USER CODE END 4 */

void startTask0(void *argument)
{
	/* USER CODE BEGIN 5 */
	osDelay(200);
	/* Infinite loop */
	for (;;)
	{
		HAL_GPIO_TogglePin(LED_BLUE_GPIO_Port, LED_BLUE_Pin);
		// LOG_INFO("blue LED toggled");
		osDelay(500); // Toggle LED every 500 ms
	}
	/* USER CODE END 5 */
}

void startTask1(void *argument)
{
	/* USER CODE BEGIN startTask1 */
	osDelay(400);
	/* Infinite loop */
	for (;;)
	{
		HAL_GPIO_TogglePin(LED_GREEN_GPIO_Port, LED_GREEN_Pin);
		// LOG_INFO("green LED toggled");
		osDelay(500); // Toggle LED every 500 ms
	}
	/* USER CODE END startTask1 */
}

void startTask2(void *argument)
{
	/* USER CODE BEGIN startTask2 */
	osDelay(600);
	/* Infinite loop */
	for (;;)
	{
		HAL_GPIO_TogglePin(LED_RED_GPIO_Port, LED_RED_Pin);
		// LOG_INFO("red LED toggled");
		osDelay(500); // Toggle LED every 500 ms
	}
	/* USER CODE END startTask2 */
}

void startTask3(void *argument)
{
	/* USER CODE BEGIN startTask3 */
	osDelay(800);
	/* Infinite loop */
	for (;;)
	{
		HAL_GPIO_TogglePin(LED_ORANGE_GPIO_Port, LED_ORANGE_Pin);
		// LOG_INFO("orange LED toggled");
		osDelay(500); // Toggle LED every 500 ms
	}
	/* USER CODE END startTask3 */
}

void startLoggerTask(void *argument)
{
	/* USER CODE BEGIN startLoggerTask */
	/* Infinite loop */
	for (;;)
	{
		LOG_task();
	}
	/* USER CODE END startLoggerTask */
}

/* USER CODE BEGIN Header_startConsoleTask */

void printHelp(const char *str)
{
	console.print("Available commands:\r\n");
}

void testCommand(const char *str)
{
	ArgPair args[8];
	int argc = Console::parseArgs(str, args, 8);
	for (int i = 0; i < argc; ++i)
	{
		console.print("Flag: ");
		char flagStr[2] = {args[i].flag, 0};
		console.print(flagStr);
		console.print(" Value: ");
		if (args[i].value != INT32_MIN)
		{
			char buf[16];
			snprintf(buf, sizeof(buf), "%ld", (long)args[i].value);
			console.print(buf);
		}
		else
		{
			console.print("(no value)");
		}
		console.print("\r\n");
	}
}

/**
 * @brief Function implementing the consoleTask thread.
 * @param argument: Not used
 * @retval None
 */
/* USER CODE END Header_startConsoleTask */
void startConsoleTask(void *argument)
{
	LOG_WRN("Console task started");
	console.init();
	// Register a free function
	console.registerCommand("help", printHelp);
	console.registerCommand("test", testCommand);

	ArgPair args[8];
	int argc = Console::parseArgs("-h 11 -D -a -l 22", args, 8);
	for (int i = 0; i < argc; ++i)
	{
		console.print("Flag: ");
		char flagStr[2] = {args[i].flag, 0};
		console.print(flagStr);
		console.print(" Value: ");
		if (args[i].value != INT32_MIN)
		{
			char buf[16];
			snprintf(buf, sizeof(buf), "%ld", (long)args[i].value);
			console.print(buf);
		}
		else
		{
			console.print("(no value)");
		}
		console.print("\r\n");
	}

	for (;;)
	{
		console.run();

		// char buff[32];
		// uart.receive(buff);
		// uart.transmit(buff, strlen(buff));

		osDelay(10); // Allow other tasks to run
	}
	/* USER CODE END startConsoleTask */
}

void HAL_TIM_PeriodElapsedCallback(TIM_HandleTypeDef *htim)
{
	if (htim->Instance == TIM6)
	{
		HAL_IncTick();
	}
}

void Error_Handler(void)
{
	__disable_irq();
	while (1)
	{
	}
}
